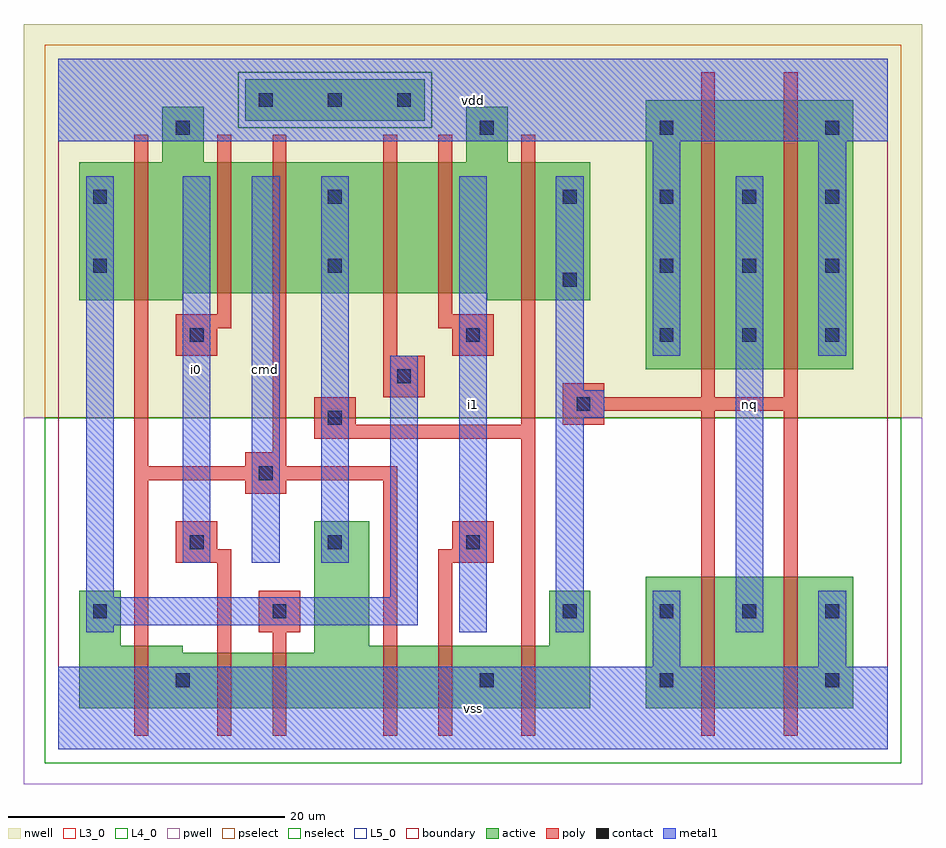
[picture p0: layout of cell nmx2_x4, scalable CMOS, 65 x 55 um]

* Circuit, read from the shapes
.subckt nmx2_x4 cmd i0 i1 nq vdd vss
M1 vss cmd n1 VSUBS nfet w=4.5u l=1u
M2 n2 i0 vss VSUBS nfet w=4u l=1u
M3 n3 n1 n2 VSUBS nfet w=4u l=1u
M4 n4 cmd n3 VSUBS nfet w=4.5u l=1u
M5 vss i1 n4 VSUBS nfet w=4.5u l=1u
M6 n5 n3 vss VSUBS nfet w=4.5u l=1u
M7 nq n5 vss VSUBS nfet w=9.5u l=1u m=2
M8 vdd cmd n1 vdd pfet w=10u l=1u
M9 n6 i0 vdd vdd pfet w=9.5u l=1u
M10 n3 cmd n6 vdd pfet w=9.5u l=1u
M11 n7 n1 n3 vdd pfet w=9.5u l=1u
M12 vdd i1 n7 vdd pfet w=9.5u l=1u
M13 n5 n3 vdd vdd pfet w=10u l=1u
M14 nq n5 vdd vdd pfet w=19.5u l=1u m=2
.ends

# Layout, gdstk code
import gdstk
lib = gdstk.Library(unit=1e-6, precision=1e-09)
def R(c, l, rs):  # rectangles x0, y0, x1, y1
    for r in rs: c.add(gdstk.rectangle(r[:2], r[2:], *l))
def A(c, l, x, y, w, h, nx, ny, dx, dy):  # array of equal rectangles
    R(c, l, [(x+i*dx, y+j*dy, x+i*dx+w, y+j*dy+h) for i in range(nx) for j in range(ny)])
L3_0 = (3, 0)
L4_0 = (4, 0)
L5_0 = (5, 0)
contact = (25, 0)
pwell = (41, 0)
nwell = (42, 0)
active = (43, 0)
pselect = (44, 0)
nselect = (45, 0)
poly = (46, 0)
metal1 = (49, 0)
boundary = (63, 0)

nmx2_x4 = lib.new_cell('nmx2_x4')
R(nmx2_x4, L3_0, [(1.5,3,38.5,7), (42.5,3,57.5,12.5), (1.5,7,9,7.5), (18.5,7,38.5,7.5), (1.5,7.5,4.5,11.5), (18.5,7.5,22.5,16.5), (35.5,7.5,38.5,11.5)])
R(nmx2_x4, L4_0, [(42.5,27.5,57.5,47), (1.5,32.5,9,33), (31,32.5,38.5,33), (1.5,33,38.5,42.5), (7.5,42.5,10.5,46.5), (29.5,42.5,32.5,46.5)])
R(nmx2_x4, L5_0, [(13.5,45.5,26.5,48.5)])
A(nmx2_x4, contact, 43.5, 9.5, 1, 1, 3, 2, 6, 20)
A(nmx2_x4, contact, 9.5, 14.5, 1, 1, 3, 1, 10, 0)
A(nmx2_x4, contact, 43.5, 34.5, 1, 1, 3, 2, 6, 5)
A(nmx2_x4, contact, 2.5, 39.5, 1, 1, 3, 1, 17, 0)
A(nmx2_x4, contact, 14.5, 46.5, 1, 1, 3, 1, 5, 0)
R(nmx2_x4, contact, [(8.5,4.5,9.5,5.5), (30.5,4.5,31.5,5.5), (43.5,4.5,44.5,5.5), (55.5,4.5,56.5,5.5), (2.5,9.5,3.5,10.5), (15.5,9.5,16.5,10.5), (36.5,9.5,37.5,10.5), (14.5,19.5,15.5,20.5), (19.5,23.5,20.5,24.5), (37.5,24.5,38.5,25.5), (24.5,26.5,25.5,27.5), (9.5,29.5,10.5,30.5), (29.5,29.5,30.5,30.5), (36.5,33.5,37.5,34.5), (2.5,34.5,3.5,35.5), (19.5,34.5,20.5,35.5), (8.5,44.5,9.5,45.5), (30.5,44.5,31.5,45.5), (43.5,44.5,44.5,45.5), (55.5,44.5,56.5,45.5)])
R(nmx2_x4, pwell, [(-2.5,-2.5,62.5,24)])
R(nmx2_x4, nwell, [(-2.5,24,62.5,52.5)])
R(nmx2_x4, active, [(1.5,3,38.5,7), (42.5,3,57.5,12.5), (1.5,7,9,7.5), (18.5,7,38.5,7.5), (1.5,7.5,4.5,11.5), (18.5,7.5,22.5,16.5), (35.5,7.5,38.5,11.5), (42.5,27.5,57.5,47), (1.5,32.5,9,33), (31,32.5,38.5,33), (1.5,33,38.5,42.5), (7.5,42.5,10.5,46.5), (29.5,42.5,32.5,46.5), (13.5,45.5,26.5,48.5)])
R(nmx2_x4, pselect, [(-1,24,61,45), (-1,45,13,49), (27,45,61,49), (-1,49,61,51)])
R(nmx2_x4, nselect, [(-1,-1,61,24), (13,45,27,49)])
R(nmx2_x4, poly, [(5.5,1,6.5,19.5), (11.5,1,12.5,13.5), (15.5,1,16.5,8.5), (23.5,1,24.5,19.5), (27.5,1,28.5,13.5), (33.5,1,34.5,22.5), (46.5,1,47.5,24.5), (52.5,1,53.5,24.5), (14.5,8.5,17.5,11.5), (8.5,13.5,12.5,14.5), (27.5,13.5,31.5,14.5), (8.5,14.5,11.5,16.5), (28.5,14.5,31.5,16.5), (13.5,18.5,16.5,19.5), (5.5,19.5,24.5,20.5), (5.5,20.5,6.5,44.5), (13.5,20.5,16.5,21.5), (15.5,21.5,16.5,44.5), (18.5,22.5,34.5,23.5), (18.5,23.5,21.5,25.5), (33.5,23.5,34.5,44.5), (36.5,23.5,39.5,24.5), (36.5,24.5,53.5,25.5), (23.5,25.5,26.5,28.5), (36.5,25.5,39.5,26.5), (46.5,25.5,47.5,49), (52.5,25.5,53.5,49), (8.5,28.5,11.5,30.5), (23.5,28.5,24.5,44.5), (28.5,28.5,31.5,30.5), (8.5,30.5,12.5,31.5), (27.5,30.5,31.5,31.5), (11.5,31.5,12.5,44.5), (27.5,31.5,28.5,44.5)])
R(nmx2_x4, metal1, [(0,0,60,6), (0,0,60,6), (43,6,45,11.5), (43,6,45,11.5), (55,6,57,11.5), (55,6,57,11.5), (2,8.5,4,9), (2,8.5,4,9), (29,8.5,31,41.5), (29,8.5,31,41.5), (36,8.5,38,24), (36,8.5,38,24), (49,8.5,51,41.5), (49,8.5,51,41.5), (2,9,26,11), (2,9,26,11), (2,11,4,41.5), (2,11,4,41.5), (24,11,26,28.5), (24,11,26,28.5), (9,13.5,11,41.5), (9,13.5,11,41.5), (14,13.5,16,41.5), (14,13.5,16,41.5), (19,13.5,21,41.5), (19,13.5,21,41.5), (36,24,39.5,26), (36,24,39.5,26), (36,26,38,41.5), (36,26,38,41.5), (43,28.5,45,44), (43,28.5,45,44), (55,28.5,57,44), (55,28.5,57,44), (0,44,60,50), (0,44,60,50)])
R(nmx2_x4, boundary, [(0,0,60,50)])
nmx2_x4.add(gdstk.Label('i0', (10,27.5), layer=49, texttype=0))
nmx2_x4.add(gdstk.Label('cmd', (15,27.5), layer=49, texttype=0))
nmx2_x4.add(gdstk.Label('vss', (30,3), layer=49, texttype=0))
nmx2_x4.add(gdstk.Label('i1', (30,25), layer=49, texttype=0))
nmx2_x4.add(gdstk.Label('vdd', (30,47), layer=49, texttype=0))
nmx2_x4.add(gdstk.Label('nq', (50,25), layer=49, texttype=0))

lib.write_gds('nmx2_x4.gds')
